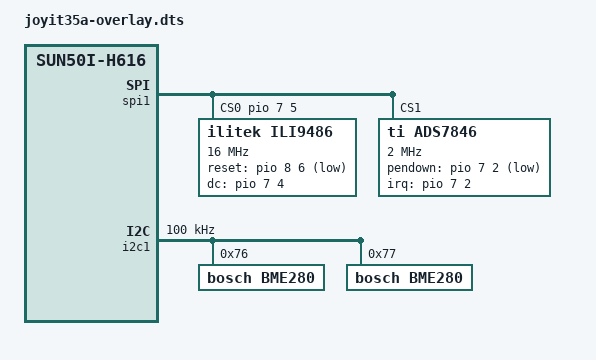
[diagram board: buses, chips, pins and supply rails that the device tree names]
/dts-v1/;
/plugin/;
/ {
    compatible = "allwinner,sun50i-h616";
    fragment@0 {
        target = <&spi1>;
        __overlay__ {
            status = "okay";
            pinctrl-names = "default";
            pinctrl-0 = <&spi1_pins>, <&spi1_cs1_pin>; /* PH6=CLK PH7=MOSI PH8=MISO PH9=CS1 */
	    cs-gpios = <&pio 7 5 0>; /*PH5=CS0 PH9=CS1*/
            ili9486: ili9486@1 {
                compatible = "ilitek,ili9486";
                reg = <0>;
                spi-max-frequency = <16000000>;
                rotate = <90>;
                txbuflen = <16384>;
                bgr; /* boolean: present = BGR order, needed for correct colours */
                fps = <30>;
                buswidth = <8>;
                regwidth = <16>; /* panel has SPI-to-16-bit-parallel converter */
                reset-gpios = <&pio 8 6 1>; /* PI6, active-low */
                dc-gpios = <&pio 7 4 0>; /* PH4 */
                debug = <0>;
                init = <0x10000b0 0x00 0x1000011 0x20000ff 0x100003a 0x55 0x1000036 0x28 0x10000c2 0x44 0x10000c5 0x00 0x00 0x00 0x00 0x10000e0 0x0f 0x1f 0x1c 0x0c 0x0f 0x08 0x48 0x98 0x37 0x0a 0x13 0x04 0x11 0x0d 0x00 0x10000e1 0x0f 0x32 0x2e 0x0b 0x0d 0x05 0x47 0x75 0x37 0x06 0x10 0x03 0x24 0x20 0x00 0x10000e2 0x0f 0x32 0x2e 0x0b 0x0d 0x05 0x47 0x75 0x37 0x06 0x10 0x03 0x24 0x20 0x00 0x1000036 0x28 0x1000011 0x1000029>;
            };

            ads7846: ads7846@0 {
                compatible = "ti,ads7846";
                reg = <1>;
                pinctrl-names = "default";
                spi-max-frequency = <2000000>;
                interrupts = <7 2 2>; /* PH2 - IRQ, falling edge (PENIRQ is active-low) */
                interrupt-parent = <&pio>;
                pendown-gpio = <&pio 7 2 1>; /* PH2, GPIO_ACTIVE_LOW */
                
                /* OPTIONS */
                ti,keep-vref-on = <1>;
                ti,pressure-min = /bits/ 16 <10>;
                ti,pressure-max = /bits/ 16 <1000>;
                ti,debounce-rep = /bits/ 16 <1>;
                ti,debounce-tol = /bits/ 16 <2>;
                ti,debounce-max = /bits/ 16 <100>;
                ti,settle-delay-usec = /bits/ 16 <20>;
                ti,penirq-recheck-delay-usecs = /bits/ 16 <20>;
                ti,x-plate-ohms = /bits/ 16 <400>;
                ti,y-plate-ohms = /bits/ 16 <400>;
	    };
        };
    };

    fragment@1 {
        target = <&i2c1>;
        __overlay__ {
            status = "okay";
            pinctrl-names = "default";
            pinctrl-0 = <&i2c1_pi_pins>; /* PI8=SDA PI7=SCL */
            clock-frequency = <100000>;

            bme280@76 {
                compatible = "bosch,bme280";
                reg = <0x76>;
            };
            bme280@77 {
                compatible = "bosch,bme280";
                reg = <0x77>;
            };
        };
    };
};
